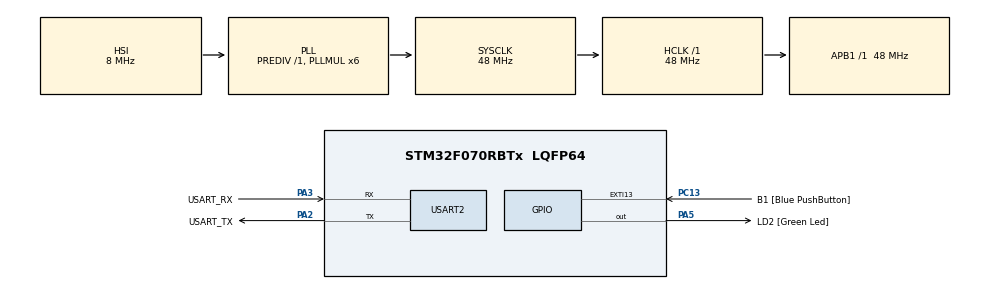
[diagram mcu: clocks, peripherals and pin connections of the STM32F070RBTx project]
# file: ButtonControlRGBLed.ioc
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Mcu.Family=STM32F0
Mcu.Name=STM32F070RBTx
Mcu.Package=LQFP64
PA13.GPIO_Label=TMS
PA13.Mode=Serial_Wire
PA13.Signal=SYS_SWDIO
PA14.GPIO_Label=TCK
PA14.Mode=Serial_Wire
PA14.Signal=SYS_SWCLK
PA2.GPIO_Label=USART_TX
PA2.Mode=Asynchronous
PA2.Signal=USART2_TX
PA3.GPIO_Label=USART_RX
PA3.Mode=Asynchronous
PA3.Signal=USART2_RX
PA5.GPIO_Label=LD2 [Green Led]
PA5.Signal=GPIO_Output
PC13.GPIO_Label=B1 [Blue PushButton]
PC13.GPIO_ModeDefaultEXTI=GPIO_MODE_IT_FALLING
PC13.Signal=GPXTI13
PC14-OSC32_IN.GPIO_Label=RCC_OSC32_IN
PC14-OSC32_IN.Mode=LSE-External-Oscillator
PC14-OSC32_IN.Signal=RCC_OSC32_IN
PC15-OSC32_OUT.GPIO_Label=RCC_OSC32_OUT
PC15-OSC32_OUT.Mode=LSE-External-Oscillator
PC15-OSC32_OUT.Signal=RCC_OSC32_OUT
PF0-OSC_IN.GPIO_Label=RCC_OSC_IN
PF0-OSC_IN.Mode=HSE-External-Clock-Source
PF0-OSC_IN.Signal=RCC_OSC_IN
PF1-OSC_OUT.GPIO_Label=RCC_OSC_OUT
PF1-OSC_OUT.Signal=RCC_OSC_OUT
ProjectManager.HeapSize=0x200
ProjectManager.StackSize=0x400
ProjectManager.TargetToolchain=STM32CubeIDE
RCC.AHBFreq_Value=48000000
RCC.APB1Freq_Value=48000000
RCC.APB1TimFreq_Value=48000000
RCC.HCLKFreq_Value=48000000
RCC.PLLMUL=RCC_PLL_MUL6
RCC.SYSCLKFreq_VALUE=48000000
RCC.SYSCLKSource=RCC_SYSCLKSOURCE_PLLCLK
USART2.VirtualMode-Asynchronous=VM_ASYNC
board=NUCLEO-F070RB

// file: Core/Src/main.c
/* USER CODE BEGIN Header */
/**
  ******************************************************************************
  * @file           : main.c
  * @brief          : Main program body
  ******************************************************************************
  * @attention
  *
  * <h2><center>&copy; Copyright (c) 2021 STMicroelectronics.
  * All rights reserved.</center></h2>
  *
  * This software component is licensed by ST under BSD 3-Clause license,
  * the "License"; You may not use this file except in compliance with the
  * License. You may obtain a copy of the License at:
  *                        opensource.org/licenses/BSD-3-Clause
  *
  ******************************************************************************
  */
/* USER CODE END Header */
#include "main.h"

/* USER CODE BEGIN PM */
int count = 0;
/* USER CODE END PM */

UART_HandleTypeDef huart2;

void SystemClock_Config(void);
static void MX_GPIO_Init(void);
static void MX_USART2_UART_Init(void);

/* USER CODE BEGIN 0 */
void BUTTON_Driver(){
	RCC->AHBENR |= 0x40000;

	GPIOB->MODER |= 0;
	GPIOB->OTYPER |= 0;
	GPIOB->OSPEEDR |= 0xC0;
	GPIOB->PUPDR |= 0;
}

void RGBLed_Driver(){
	GPIOB->MODER |= 0x50400;
	GPIOB->OTYPER |= 0;
	GPIOB->OSPEEDR |= 0xF0C00;
	GPIOB->PUPDR |= 0;
}

void RGBLed_Blue(){
	GPIOB->ODR = 0x300;
}

void RGBLed_Red(){
	GPIOB->ODR = 0x120;
}

void RGBLed_Green(){
	GPIOB->ODR = 0x220;
}
/* USER CODE END 0 */

int main(void)
{

  /* MCU Configuration--------------------------------------------------------*/

  /* Reset of all peripherals, Initializes the Flash interface and the Systick. */
  HAL_Init();

  /* Configure the system clock */
  SystemClock_Config();

  /* Initialize all configured peripherals */
  MX_GPIO_Init();
  MX_USART2_UART_Init();
  /* USER CODE BEGIN 2 */
  BUTTON_Driver();
  RGBLed_Driver();
  /* USER CODE END 2 */

  /* Infinite loop */
  /* USER CODE BEGIN WHILE */
  while (1)
  {
	  if(count == 0){
		  GPIOB->ODR = 0x320;
	  }
	  else if(count == 1){
		  RGBLed_Blue();
	  }
	  else if(count == 2){
		  RGBLed_Green();
	  }
	  else if(count == 3){
		  RGBLed_Red();
	  }
	  else{
		  count = 0;
	  }

	  if(GPIOB->IDR & 0x8){
		  count++;
		  HAL_Delay(500);
	  }
    /* USER CODE END WHILE */

  }
}

void SystemClock_Config(void)
{
  RCC_OscInitTypeDef RCC_OscInitStruct = {0};
  RCC_ClkInitTypeDef RCC_ClkInitStruct = {0};

  /** Initializes the RCC Oscillators according to the specified parameters
  * in the RCC_OscInitTypeDef structure.
  */
  RCC_OscInitStruct.OscillatorType = RCC_OSCILLATORTYPE_HSI;
  RCC_OscInitStruct.HSIState = RCC_HSI_ON;
  RCC_OscInitStruct.HSICalibrationValue = RCC_HSICALIBRATION_DEFAULT;
  RCC_OscInitStruct.PLL.PLLState = RCC_PLL_ON;
  RCC_OscInitStruct.PLL.PLLSource = RCC_PLLSOURCE_HSI;
  RCC_OscInitStruct.PLL.PLLMUL = RCC_PLL_MUL6;
  RCC_OscInitStruct.PLL.PREDIV = RCC_PREDIV_DIV1;
  if (HAL_RCC_OscConfig(&RCC_OscInitStruct) != HAL_OK)
  {
    Error_Handler();
  }
  /** Initializes the CPU, AHB and APB buses clocks
  */
  RCC_ClkInitStruct.ClockType = RCC_CLOCKTYPE_HCLK|RCC_CLOCKTYPE_SYSCLK
                              |RCC_CLOCKTYPE_PCLK1;
  RCC_ClkInitStruct.SYSCLKSource = RCC_SYSCLKSOURCE_PLLCLK;
  RCC_ClkInitStruct.AHBCLKDivider = RCC_SYSCLK_DIV1;
  RCC_ClkInitStruct.APB1CLKDivider = RCC_HCLK_DIV1;

  if (HAL_RCC_ClockConfig(&RCC_ClkInitStruct, FLASH_LATENCY_1) != HAL_OK)
  {
    Error_Handler();
  }
}

static void MX_USART2_UART_Init(void)
{

  huart2.Instance = USART2;
  huart2.Init.BaudRate = 38400;
  huart2.Init.WordLength = UART_WORDLENGTH_8B;
  huart2.Init.StopBits = UART_STOPBITS_1;
  huart2.Init.Parity = UART_PARITY_NONE;
  huart2.Init.Mode = UART_MODE_TX_RX;
  huart2.Init.HwFlowCtl = UART_HWCONTROL_NONE;
  huart2.Init.OverSampling = UART_OVERSAMPLING_16;
  huart2.Init.OneBitSampling = UART_ONE_BIT_SAMPLE_DISABLE;
  huart2.AdvancedInit.AdvFeatureInit = UART_ADVFEATURE_NO_INIT;
  if (HAL_UART_Init(&huart2) != HAL_OK)
  {
    Error_Handler();
  }

}

static void MX_GPIO_Init(void)
{
  GPIO_InitTypeDef GPIO_InitStruct = {0};

  /* GPIO Ports Clock Enable */
  __HAL_RCC_GPIOC_CLK_ENABLE();
  __HAL_RCC_GPIOF_CLK_ENABLE();
  __HAL_RCC_GPIOA_CLK_ENABLE();

  /*Configure GPIO pin Output Level */
  HAL_GPIO_WritePin(LD2_GPIO_Port, LD2_Pin, GPIO_PIN_RESET);

  /*Configure GPIO pin : B1_Pin */
  GPIO_InitStruct.Pin = B1_Pin;
  GPIO_InitStruct.Mode = GPIO_MODE_IT_FALLING;
  GPIO_InitStruct.Pull = GPIO_NOPULL;
  HAL_GPIO_Init(B1_GPIO_Port, &GPIO_InitStruct);

  /*Configure GPIO pin : LD2_Pin */
  GPIO_InitStruct.Pin = LD2_Pin;
  GPIO_InitStruct.Mode = GPIO_MODE_OUTPUT_PP;
  GPIO_InitStruct.Pull = GPIO_NOPULL;
  GPIO_InitStruct.Speed = GPIO_SPEED_FREQ_LOW;
  HAL_GPIO_Init(LD2_GPIO_Port, &GPIO_InitStruct);

}

void Error_Handler(void)
{
  __disable_irq();
  while (1)
  {
  }
}

/************************ (C) COPYRIGHT STMicroelectronics *****END OF FILE****/
